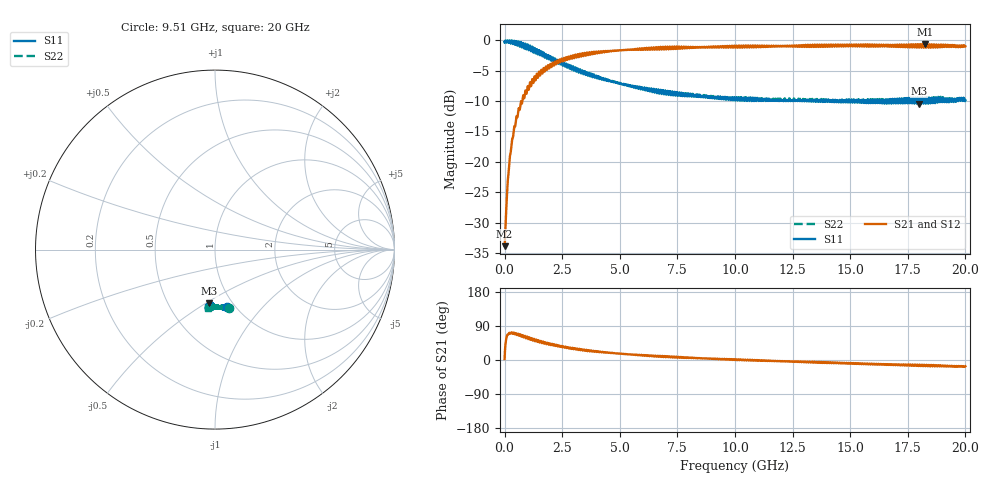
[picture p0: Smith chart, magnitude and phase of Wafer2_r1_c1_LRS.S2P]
!  2-Port S-parameters saved by WinCal
! VAR NAME=Wafer2_r1_c1_LRS
! VAR DATE=24/04/2024 17:08:57
! VAR FILENAME=Wafer2_r1_c1_LRS.S2P
! VAR MeasName=S-Parameters (CALIBRATED_DATA) read from VNA (P5004A)
! VAR MeasDate=24/04/2024 17:00:34
! VAR PHYS_PORTS=1,2
! VAR ObjTypeName=DATASET
! VAR IndexType=Frequency
# Hz S MA R 50
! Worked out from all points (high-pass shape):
!   4999 points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, 4.01 MHz to 20 GHz, reference 50 ohm
!   highest |S21| = -0.63 dB at 18.24 GHz (marker M1); lowest = -33.9 dB at 4.01 MHz (marker M2)
!   |S21| within 3 dB of the highest: 2.258 GHz to 2.314 GHz (55.84 MHz wide, 2.44 % of centre); 2.346 GHz to end of sweep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
!   lowest |S11| = -10.4 dB at 17.98 GHz (marker M3), VSWR 1.86, Z = 39.4 - j25.9 ohm
!   |S11| at or under -10 dB: 15.56478 GHz to 15.6295 GHz (64.73 MHz wide, 0.415 % of centre); 15.66449 GHz to 15.72855 GHz (64.06 MHz wide, 0.408 % of centre); 15.76444 GHz to 15.82781 GHz (63.37 MHz wide, 0.401 % of centre)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
!   |S22| runs from -10.2 to 0.0 dB; largest |S21 - S12| = 0.016
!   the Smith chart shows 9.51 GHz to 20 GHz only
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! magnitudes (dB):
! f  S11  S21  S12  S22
! 4.01 MHz  -0.3  -33.9  -34.0  -0.3
! 56.02 MHz  -0.1  -29.4  -29.5  -0.1
! 140 MHz  0.0  -23.2  -23.3  0.0
! 176 MHz  -0.4  -21.8  -21.8  -0.4
! 236.1 MHz  -0.1  -19.0  -19.1  -0.1
! 312.1 MHz  -0.1  -16.8  -16.8  -0.1
! 420.1 MHz  -0.1  -14.3  -14.3  -0.1
! 532.1 MHz  -0.4  -12.5  -12.6  -0.4
! 664.1 MHz  -1.0  -11.3  -11.3  -1.0
! 832.2 MHz  -0.9  -9.3  -9.3  -0.9
! 1.248 GHz  -2.0  -7.0  -7.0  -2.0
! 1.752 GHz  -2.8  -5.1  -5.0  -2.8
! 2.432 GHz  -4.0  -3.6  -3.6  -4.0
! 3.341 GHz  -5.3  -2.5  -2.5  -5.3
! 4.797 GHz  -6.9  -1.7  -1.7  -6.8
! 6.673 GHz  -8.1  -1.1  -1.1  -8.2
! 10 GHz  -9.7  -1.2  -1.2  -9.6
! 13.33 GHz  -9.9  -1.0  -1.0  -9.8
! 16.67 GHz  -10.3  -0.9  -0.9  -9.8
! 17.98 GHz  -10.4  -1.2  -1.2  -10.0
! 18.24 GHz  -9.5  -0.6  -0.6  -9.6
! 20 GHz  -9.9  -1.0  -1.0  -9.6
